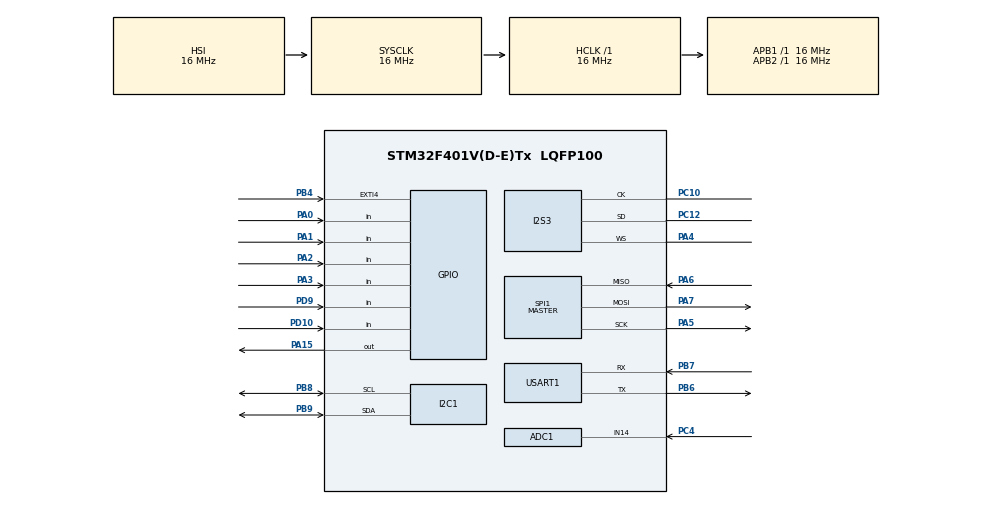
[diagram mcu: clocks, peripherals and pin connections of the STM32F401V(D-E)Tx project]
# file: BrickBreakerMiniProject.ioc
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ADC1.Channel-0\#ChannelRegularConversion=ADC_CHANNEL_14
ADC1.NbrOfConversionFlag=1
ADC1.Rank-0\#ChannelRegularConversion=1
ADC1.SamplingTime-0\#ChannelRegularConversion=ADC_SAMPLETIME_3CYCLES
ADC1.master=1
Dma.Request0=SPI3_TX
Dma.SPI3_TX.0.Direction=DMA_MEMORY_TO_PERIPH
Dma.SPI3_TX.0.FIFOMode=DMA_FIFOMODE_DISABLE
Dma.SPI3_TX.0.Instance=DMA1_Stream5
Dma.SPI3_TX.0.MemDataAlignment=DMA_MDATAALIGN_HALFWORD
Dma.SPI3_TX.0.MemInc=DMA_MINC_ENABLE
Dma.SPI3_TX.0.Mode=DMA_NORMAL
Dma.SPI3_TX.0.PeriphDataAlignment=DMA_PDATAALIGN_HALFWORD
Dma.SPI3_TX.0.PeriphInc=DMA_PINC_DISABLE
Dma.SPI3_TX.0.Priority=DMA_PRIORITY_LOW
I2S3.ErrorAudioFreq=0.0 %
I2S3.FullDuplexMode=I2S_FULLDUPLEXMODE_DISABLE
I2S3.Instance=SPI$Index
I2S3.RealAudioFreq=8.0 KHz
I2S3.VirtualMode=I2S_MODE_MASTER
Mcu.Family=STM32F4
Mcu.Name=STM32F401V(D-E)Tx
Mcu.Package=LQFP100
NVIC.DMA1_Stream5_IRQn=true\:0\:0\:false\:false\:true\:false\:true
NVIC.EXTI4_IRQn=true\:0\:0\:false\:false\:true\:true\:true
NVIC.PriorityGroup=NVIC_PRIORITYGROUP_4
PA0-WKUP.Signal=GPIO_Input
PA1.Signal=GPIO_Input
PA15.Signal=GPIO_Output
PA2.Signal=GPIO_Input
PA3.Signal=GPIO_Input
PA4.Mode=Half_Duplex_Master
PA4.Signal=I2S3_WS
PA5.Mode=Full_Duplex_Master
PA5.Signal=SPI1_SCK
PA6.Mode=Full_Duplex_Master
PA6.Signal=SPI1_MISO
PA7.Mode=Full_Duplex_Master
PA7.Signal=SPI1_MOSI
PB4.Signal=GPXTI4
PB6.Mode=Asynchronous
PB6.Signal=USART1_TX
PB7.Mode=Asynchronous
PB7.Signal=USART1_RX
PB8.Mode=I2C
PB8.Signal=I2C1_SCL
PB9.Mode=I2C
PB9.Signal=I2C1_SDA
PC10.Mode=Half_Duplex_Master
PC10.Signal=I2S3_CK
PC12.Mode=Half_Duplex_Master
PC12.Signal=I2S3_SD
PC4.Signal=ADCx_IN14
PD10.Signal=GPIO_Input
PD9.Signal=GPIO_Input
ProjectManager.HeapSize=0x200
ProjectManager.StackSize=0x400
ProjectManager.TargetToolchain=STM32CubeIDE
RCC.AHBFreq_Value=16000000
RCC.APB1Freq_Value=16000000
RCC.APB2Freq_Value=16000000
RCC.CortexFreq_Value=16000000
RCC.HSE_VALUE=25000000
RCC.HSI_VALUE=16000000
RCC.LSE_VALUE=32768
RCC.SYSCLKFreq_VALUE=16000000
RCC.VCOOutputFreq_Value=192000000
SH.ADCx_IN14.0=ADC1_IN14,IN14
SPI1.Direction=SPI_DIRECTION_2LINES
SPI1.Mode=SPI_MODE_MASTER
SPI1.VirtualType=VM_MASTER
USART1.VirtualMode=VM_ASYNC
VP_FATFS_VS_Generic.Mode=User_defined
board=custom

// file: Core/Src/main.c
/* USER CODE BEGIN Header */
/**
  ******************************************************************************
  * @file           : main.c
  * @brief          : Main program body
  ******************************************************************************
  * @attention
  *
  * <h2><center>&copy; Copyright (c) 2021 STMicroelectronics.
  * All rights reserved.</center></h2>
  *
  * This software component is licensed by ST under BSD 3-Clause license,
  * the "License"; You may not use this file except in compliance with the
  * License. You may obtain a copy of the License at:
  *                        opensource.org/licenses/BSD-3-Clause
  *
  ******************************************************************************
  */
/* USER CODE END Header */

#include "main.h"
#include "fatfs.h"

/* USER CODE BEGIN Includes */

#include "sd.h"

#include "images.h"
#include "sounds.h"
#include "sprite.h"

/* USER CODE END Includes */

/* USER CODE BEGIN PTD */

typedef enum InputMode {
	JOYSTICK_INPUT,
	MOUSE_INPUT,
	TOUCH_INPUT
} input_mode_t;

/* USER CODE END PTD */

/* USER CODE BEGIN PD */

#define PADDLE_INIT_LEFT	144
#define PADDLE_INIT_TOP 	190

#define BALL_INIT_LEFT		157
#define BALL_INIT_TOP 		186

#define BRICK_COLUMN_SIZE 	13
#define BRICK_ROW_SIZE 		5

#define TOP_OFFSET 			40

#define MAX_NUM_LIVES		3
/* USER CODE END PD */

ADC_HandleTypeDef hadc1;

I2C_HandleTypeDef hi2c1;

I2S_HandleTypeDef hi2s3;
DMA_HandleTypeDef hdma_spi3_tx;

SPI_HandleTypeDef hspi1;

UART_HandleTypeDef huart1;

/* USER CODE BEGIN PV */

FATFS fs;
FIL file;
UINT bytes_transacted;
uint8_t in_text_buffer[5];
uint8_t out_text_buffer[5] = "XXXXX";

uint8_t i2c_data[10];
int16_t mouse_vx = 0;

extern volatile int screen_refreshed;

int gameplay_enabled = 0;
input_mode_t input_mode = JOYSTICK_INPUT;

unsigned int player_score = 0;
unsigned int player_high_score = 0;
unsigned int num_powerups = 1;

screen_t screen = {
		(unsigned char*)0x20020000,	// screen start address
		320,					// screen width
		200 					// screen height
};

int paddle_direction = 0; // left: -1, right: 1, stationary: 0

sprite_t paddle_sprite;
sprite_t ball_sprite;
sprite_t brick_sprites[BRICK_COLUMN_SIZE * BRICK_ROW_SIZE];
sprite_t heart_sprites[MAX_NUM_LIVES];
sprite_t ext_powerup_sprite;

int ball_angle = 30;

/* USER CODE END PV */

void SystemClock_Config(void);
static void MX_GPIO_Init(void);
static void MX_DMA_Init(void);
static void MX_ADC1_Init(void);
static void MX_I2C1_Init(void);
static void MX_SPI1_Init(void);
static void MX_USART1_UART_Init(void);
static void MX_I2S3_Init(void);
/* USER CODE BEGIN PFP */

void init_title_layout();

void draw_title_layout();

void init_play_layout();

void draw_play_layout();

void reset_play_layout();

void init_end_layout();

void draw_end_layout();

void check_gameplay_enabled_change();

void check_input_mode_change();

void handle_paddle_mechanics();

void check_gameplay_enabled_change();

void handle_ball_mechanics();

void update_score();

int game_won();

int game_lost();

void load_high_scores();

void save_high_scores();

void display_high_scores();

void draw_current_high_score();

void handle_powerup_mechanics();

void play_sound(const uint16_t* sound, uint16_t length);

void create_highscore_file();
/* USER CODE END PFP */

int main(void)
{

  /* MCU Configuration--------------------------------------------------------*/

  /* Reset of all peripherals, Initializes the Flash interface and the Systick. */
  HAL_Init();

  /* Configure the system clock */
  SystemClock_Config();

  /* Initialize all configured peripherals */
  MX_GPIO_Init();
  MX_DMA_Init();
  MX_ADC1_Init();
  MX_I2C1_Init();
  MX_SPI1_Init();
  MX_USART1_UART_Init();
  MX_I2S3_Init();
  MX_FATFS_Init();
  /* USER CODE BEGIN 2 */

  // Configure I2C device

  i2c_data[0] = 0x20;
  i2c_data[1] = 0x47;
  HAL_I2C_Master_Transmit(&hi2c1, 0x32, i2c_data, 2, 10);
  i2c_data[0] = 0x23;
  i2c_data[1] = 0x00;
  HAL_I2C_Master_Transmit(&hi2c1, 0x32, i2c_data, 2, 10);

  f_mount(&fs, "", 1);

  create_highscore_file();

  // Initialize layouts
  init_title_layout();
  init_play_layout();

  /* USER CODE END 2 */

  /* Infinite loop */
  while (1)
  {

    /* USER CODE BEGIN 3 */
	  i2c_data[0] = 0x28 | 0x80;

	  HAL_I2C_Master_Transmit(&hi2c1, 0x32, i2c_data, 1, 10);
	  HAL_I2C_Master_Receive(&hi2c1, 0x32, i2c_data, 6, 10);

	  uint16_t tmp = i2c_data[0] + (i2c_data[1] << 8);
	  mouse_vx = *((int16_t*)&tmp);

	  //tmp = i2c_data[2] + (i2c_data[3] << 8);
	  //int16_t vy = *((int16_t*)&tmp); // Get the y-velocity (not used).

	  if (screen_refreshed) {
		  check_input_mode_change();

		  check_gameplay_enabled_change();

		  if (gameplay_enabled) {
			  handle_paddle_mechanics();
			  handle_ball_mechanics();
			  handle_powerup_mechanics();
		  }

		  update_score();
		  display_high_scores();

		  // Check if the round is lost.
		  if (ball_sprite.top + ball_sprite.height >= paddle_sprite.top + paddle_sprite.height) {
			  // remove a life and a heart... deep
			  paddle_sprite.hp--;
			  clear_sprite(heart_sprites + paddle_sprite.hp, &screen);

			  reset_play_layout();
		  }

		  if (game_lost() || game_won()) {
			  save_high_scores();
			  init_end_layout();
		  } else {
			  draw_play_layout();
		  }

		  screen_refreshed = 0;
	  }
  }
  /* USER CODE END 3 */
}

void SystemClock_Config(void)
{
  RCC_OscInitTypeDef RCC_OscInitStruct = {0};
  RCC_ClkInitTypeDef RCC_ClkInitStruct = {0};
  RCC_PeriphCLKInitTypeDef PeriphClkInitStruct = {0};

  /** Macro to configure the PLL multiplication factor
  */
  __HAL_RCC_PLL_PLLM_CONFIG(16);
  /** Macro to configure the PLL clock source
  */
  __HAL_RCC_PLL_PLLSOURCE_CONFIG(RCC_PLLSOURCE_HSI);
  /** Configure the main internal regulator output voltage
  */
  __HAL_RCC_PWR_CLK_ENABLE();
  __HAL_PWR_VOLTAGESCALING_CONFIG(PWR_REGULATOR_VOLTAGE_SCALE2);
  /** Initializes the CPU, AHB and APB busses clocks
  */
  RCC_OscInitStruct.OscillatorType = RCC_OSCILLATORTYPE_HSI;
  RCC_OscInitStruct.HSIState = RCC_HSI_ON;
  RCC_OscInitStruct.HSICalibrationValue = RCC_HSICALIBRATION_DEFAULT;
  RCC_OscInitStruct.PLL.PLLState = RCC_PLL_NONE;
  RCC_OscInitStruct.PLL.PLLSource = RCC_PLLSOURCE_HSI;
  if (HAL_RCC_OscConfig(&RCC_OscInitStruct) != HAL_OK)
  {
    Error_Handler();
  }
  /** Initializes the CPU, AHB and APB busses clocks
  */
  RCC_ClkInitStruct.ClockType = RCC_CLOCKTYPE_HCLK|RCC_CLOCKTYPE_SYSCLK
                              |RCC_CLOCKTYPE_PCLK1|RCC_CLOCKTYPE_PCLK2;
  RCC_ClkInitStruct.SYSCLKSource = RCC_SYSCLKSOURCE_HSI;
  RCC_ClkInitStruct.AHBCLKDivider = RCC_SYSCLK_DIV1;
  RCC_ClkInitStruct.APB1CLKDivider = RCC_HCLK_DIV1;
  RCC_ClkInitStruct.APB2CLKDivider = RCC_HCLK_DIV1;

  if (HAL_RCC_ClockConfig(&RCC_ClkInitStruct, FLASH_LATENCY_0) != HAL_OK)
  {
    Error_Handler();
  }
  PeriphClkInitStruct.PeriphClockSelection = RCC_PERIPHCLK_I2S;
  PeriphClkInitStruct.PLLI2S.PLLI2SN = 192;
  PeriphClkInitStruct.PLLI2S.PLLI2SR = 2;
  if (HAL_RCCEx_PeriphCLKConfig(&PeriphClkInitStruct) != HAL_OK)
  {
    Error_Handler();
  }
}

static void MX_ADC1_Init(void)
{

  ADC_ChannelConfTypeDef sConfig = {0};

  /** Configure the global features of the ADC (Clock, Resolution, Data Alignment and number of conversion)
  */
  hadc1.Instance = ADC1;
  hadc1.Init.ClockPrescaler = ADC_CLOCK_SYNC_PCLK_DIV2;
  hadc1.Init.Resolution = ADC_RESOLUTION_12B;
  hadc1.Init.ScanConvMode = DISABLE;
  hadc1.Init.ContinuousConvMode = DISABLE;
  hadc1.Init.DiscontinuousConvMode = DISABLE;
  hadc1.Init.ExternalTrigConvEdge = ADC_EXTERNALTRIGCONVEDGE_NONE;
  hadc1.Init.ExternalTrigConv = ADC_SOFTWARE_START;
  hadc1.Init.DataAlign = ADC_DATAALIGN_RIGHT;
  hadc1.Init.NbrOfConversion = 1;
  hadc1.Init.DMAContinuousRequests = DISABLE;
  hadc1.Init.EOCSelection = ADC_EOC_SINGLE_CONV;
  if (HAL_ADC_Init(&hadc1) != HAL_OK)
  {
    Error_Handler();
  }
  /** Configure for the selected ADC regular channel its corresponding rank in the sequencer and its sample time.
  */
  sConfig.Channel = ADC_CHANNEL_14;
  sConfig.Rank = 1;
  sConfig.SamplingTime = ADC_SAMPLETIME_3CYCLES;
  if (HAL_ADC_ConfigChannel(&hadc1, &sConfig) != HAL_OK)
  {
    Error_Handler();
  }

}

static void MX_I2C1_Init(void)
{

  hi2c1.Instance = I2C1;
  hi2c1.Init.ClockSpeed = 100000;
  hi2c1.Init.DutyCycle = I2C_DUTYCYCLE_2;
  hi2c1.Init.OwnAddress1 = 0;
  hi2c1.Init.AddressingMode = I2C_ADDRESSINGMODE_7BIT;
  hi2c1.Init.DualAddressMode = I2C_DUALADDRESS_DISABLE;
  hi2c1.Init.OwnAddress2 = 0;
  hi2c1.Init.GeneralCallMode = I2C_GENERALCALL_DISABLE;
  hi2c1.Init.NoStretchMode = I2C_NOSTRETCH_DISABLE;
  if (HAL_I2C_Init(&hi2c1) != HAL_OK)
  {
    Error_Handler();
  }

}

static void MX_I2S3_Init(void)
{

  hi2s3.Instance = SPI3;
  hi2s3.Init.Mode = I2S_MODE_MASTER_TX;
  hi2s3.Init.Standard = I2S_STANDARD_PHILIPS;
  hi2s3.Init.DataFormat = I2S_DATAFORMAT_16B;
  hi2s3.Init.MCLKOutput = I2S_MCLKOUTPUT_DISABLE;
  hi2s3.Init.AudioFreq = I2S_AUDIOFREQ_8K;
  hi2s3.Init.CPOL = I2S_CPOL_LOW;
  hi2s3.Init.ClockSource = I2S_CLOCK_PLL;
  hi2s3.Init.FullDuplexMode = I2S_FULLDUPLEXMODE_DISABLE;
  if (HAL_I2S_Init(&hi2s3) != HAL_OK)
  {
    Error_Handler();
  }

}

static void MX_SPI1_Init(void)
{

  /* SPI1 parameter configuration*/
  hspi1.Instance = SPI1;
  hspi1.Init.Mode = SPI_MODE_MASTER;
  hspi1.Init.Direction = SPI_DIRECTION_2LINES;
  hspi1.Init.DataSize = SPI_DATASIZE_8BIT;
  hspi1.Init.CLKPolarity = SPI_POLARITY_LOW;
  hspi1.Init.CLKPhase = SPI_PHASE_1EDGE;
  hspi1.Init.NSS = SPI_NSS_SOFT;
  hspi1.Init.BaudRatePrescaler = SPI_BAUDRATEPRESCALER_2;
  hspi1.Init.FirstBit = SPI_FIRSTBIT_MSB;
  hspi1.Init.TIMode = SPI_TIMODE_DISABLE;
  hspi1.Init.CRCCalculation = SPI_CRCCALCULATION_DISABLE;
  hspi1.Init.CRCPolynomial = 10;
  if (HAL_SPI_Init(&hspi1) != HAL_OK)
  {
    Error_Handler();
  }

}

static void MX_USART1_UART_Init(void)
{

  huart1.Instance = USART1;
  huart1.Init.BaudRate = 115200;
  huart1.Init.WordLength = UART_WORDLENGTH_8B;
  huart1.Init.StopBits = UART_STOPBITS_1;
  huart1.Init.Parity = UART_PARITY_NONE;
  huart1.Init.Mode = UART_MODE_TX_RX;
  huart1.Init.HwFlowCtl = UART_HWCONTROL_NONE;
  huart1.Init.OverSampling = UART_OVERSAMPLING_16;
  if (HAL_UART_Init(&huart1) != HAL_OK)
  {
    Error_Handler();
  }

}

static void MX_DMA_Init(void)
{

  /* DMA controller clock enable */
  __HAL_RCC_DMA1_CLK_ENABLE();

  /* DMA interrupt init */
  /* DMA1_Stream5_IRQn interrupt configuration */
  HAL_NVIC_SetPriority(DMA1_Stream5_IRQn, 0, 0);
  HAL_NVIC_EnableIRQ(DMA1_Stream5_IRQn);

}

static void MX_GPIO_Init(void)
{
  GPIO_InitTypeDef GPIO_InitStruct = {0};

  /* GPIO Ports Clock Enable */
  __HAL_RCC_GPIOA_CLK_ENABLE();
  __HAL_RCC_GPIOC_CLK_ENABLE();
  __HAL_RCC_GPIOD_CLK_ENABLE();
  __HAL_RCC_GPIOB_CLK_ENABLE();

  /*Configure GPIO pin Output Level */
  HAL_GPIO_WritePin(GPIOA, GPIO_PIN_15, GPIO_PIN_RESET);

  /*Configure GPIO pins : PA0 PA1 PA2 PA3 */
  GPIO_InitStruct.Pin = GPIO_PIN_0|GPIO_PIN_1|GPIO_PIN_2|GPIO_PIN_3;
  GPIO_InitStruct.Mode = GPIO_MODE_INPUT;
  GPIO_InitStruct.Pull = GPIO_NOPULL;
  HAL_GPIO_Init(GPIOA, &GPIO_InitStruct);

  /*Configure GPIO pins : PD9 PD10 */
  GPIO_InitStruct.Pin = GPIO_PIN_9|GPIO_PIN_10;
  GPIO_InitStruct.Mode = GPIO_MODE_INPUT;
  GPIO_InitStruct.Pull = GPIO_NOPULL;
  HAL_GPIO_Init(GPIOD, &GPIO_InitStruct);

  /*Configure GPIO pin : PA15 */
  GPIO_InitStruct.Pin = GPIO_PIN_15;
  GPIO_InitStruct.Mode = GPIO_MODE_OUTPUT_PP;
  GPIO_InitStruct.Pull = GPIO_NOPULL;
  GPIO_InitStruct.Speed = GPIO_SPEED_FREQ_LOW;
  HAL_GPIO_Init(GPIOA, &GPIO_InitStruct);

  /*Configure GPIO pin : PB4 */
  GPIO_InitStruct.Pin = GPIO_PIN_4;
  GPIO_InitStruct.Mode = GPIO_MODE_IT_RISING;
  GPIO_InitStruct.Pull = GPIO_NOPULL;
  HAL_GPIO_Init(GPIOB, &GPIO_InitStruct);

  /* EXTI interrupt init*/
  HAL_NVIC_SetPriority(EXTI4_IRQn, 0, 0);
  HAL_NVIC_EnableIRQ(EXTI4_IRQn);

}

/* USER CODE BEGIN 4 */

void create_highscore_file() {
	// Write data to file.
	f_open(&file, "score.txt", FA_WRITE | FA_CREATE_ALWAYS);

	out_text_buffer[0] = 48;
	out_text_buffer[1] = 48;
	out_text_buffer[2] = 48;
	out_text_buffer[3] = 48;
	out_text_buffer[4] = 48;

	f_write(&file, out_text_buffer, 5, &bytes_transacted);

	// Close file.
	f_close(&file);
}

void load_high_scores() {
	player_high_score = 0;

	// Read data from file.
	FRESULT temp = f_open(&file, "score.txt", FA_READ);
	f_read(&file, in_text_buffer, 5, &bytes_transacted);
	if (bytes_transacted != 0) {
		player_high_score += 10000 * (in_text_buffer[0] - 48);
		player_high_score += 1000 * (in_text_buffer[1] - 48);
		player_high_score += 100 * (in_text_buffer[2] - 48);
		player_high_score += 10 * (in_text_buffer[3] - 48);
		player_high_score += (in_text_buffer[4] - 48);
	}

	f_close(&file);
}

void save_high_scores() {
	if (player_high_score < player_score)
		player_high_score = player_score;

	 // Write data to file.
	  f_open(&file, "score.txt", FA_WRITE);

	  out_text_buffer[0] = (player_high_score / 10000) % 10 + 48;
	  out_text_buffer[1] = (player_high_score / 1000) % 10 + 48;
	  out_text_buffer[2] = (player_high_score / 100) % 10 + 48;
	  out_text_buffer[3] = (player_high_score / 10) % 10 + 48;
	  out_text_buffer[4] = player_high_score % 10 + 48;

	  f_write(&file, out_text_buffer, 5, &bytes_transacted);

	  // Close file.
	  f_close(&file);
}

void display_high_scores() {
	draw_current_high_score();
}

void display_number(unsigned int number, int left, int top) {
	uint32_t* start_address = (uint32_t*)(screen.start + screen.width * top + left);
	uint8_t digit = 0;
	uint32_t* digitptr;
	uint32_t* scrcopyptr;

	for (int i = 0; i < 5; i++) {
		digit = number % 10;
		number /= 10;

		scrcopyptr = start_address;
		digitptr = (uint32_t*)(digits + (digit << 3));
		for (int i = 0; i < 9; i++)
		{
			for (int j = 0; j < 2; j++)
			{
				*scrcopyptr++ = *digitptr++;
			}
			digitptr += 18;
			scrcopyptr += 78;

		}
		start_address -= 2;
	}
}

void init_title_layout() {
	int num_flashes = 10;
	draw_image(&screen, title_label_image, 72, 10, TITLE_LABEL_WIDTH, TITLE_LABEL_HEIGHT);
	draw_image(&screen, instr_label_image, 108, 100, INSTR_LABEL_WIDTH, INSTR_LABEL_HEIGHT);

	while (0 < num_flashes) { // Doesn't want to work :(
		clear_box(&screen, LOADING_LABEL_WIDTH, LOADING_LABEL_HEIGHT, 106, 180);
		draw_image(&screen, loading_label_image, 106, 180, LOADING_LABEL_WIDTH, LOADING_LABEL_HEIGHT);
		HAL_Delay(20);
		num_flashes--;
	}

	clear_screen(&screen);
}

void init_play_layout() {
	load_high_scores();
	player_score = 0;

	// Setup paddle
	init_sprite(&paddle_sprite, paddle_image, PADDLE_WIDTH, PADDLE_HEIGHT, 144, 190, MAX_NUM_LIVES);

	// Setup ball
	ball_angle = 30;
	init_sprite(&ball_sprite, ball_image, BALL_WIDTH, BALL_HEIGHT, 157, 186, 1);

	uint8_t* brick_images[] = {
			grey_brick_image,
			red_brick_image,
			orange_brick_image,
			yelllow_brick_image,
			green_brick_image
	};

	const unsigned int BRICK_H_PADDING = 2;
	const unsigned int BRICK_V_PADDING = 4;
	const unsigned int BRICK_LEFT_OFFSET = 5;

	for (int i = 0; i < BRICK_ROW_SIZE; i++) {
		for (int j = 0; j < BRICK_COLUMN_SIZE; j++) {
			int brick_index = i * BRICK_COLUMN_SIZE + j;
			int left_position = BRICK_LEFT_OFFSET + j * (BRICK_H_PADDING + BRICK_H_PADDING * (j < BRICK_COLUMN_SIZE) + BRICK_WIDTH);
			int top_position = TOP_OFFSET + i * (BRICK_V_PADDING + BRICK_HEIGHT);
			int num_lives = (i == 0) ? 2 : 1; // First row should have 2 lives and all other rows should have 1 life.

			init_sprite(brick_sprites + brick_index, brick_images[i], BRICK_WIDTH, BRICK_HEIGHT, left_position, top_position, num_lives);
		}
	}

	// Setup heart sprites
	for (int i = 0; i < 3; i++) {
		init_sprite(heart_sprites + i, heart_image, HEART_WIDTH, HEART_HEIGHT, 5 + i * (HEART_WIDTH + 10), 5, 1);
		draw_sprite(heart_sprites + i, &screen);
	}

	// Print labels
	draw_image(&screen, score_label_image, 220, 14, SCORE_LABEL_WIDTH, SCORE_LABEL_HEIGHT);
	draw_image(&screen, high_score_label_image, 100, 14, HIGH_SCORE_LABEL_WIDTH, HIGH_SCORE_LABEL_HEIGHT);

	// Draw highscore
	draw_current_high_score();

	// Setup powerup
	init_sprite(&ext_powerup_sprite, ext_powerup_image, EXT_POWERUP_WIDTH, EXT_POWERUP_HEIGHT, 144, 190, 0);

}

void draw_current_high_score() {
	display_number(player_high_score, 200, 13);
}

void reset_play_layout() {
	// Disable gameplay
	gameplay_enabled = 0;

	// Reset Paddle
	clear_sprite(&paddle_sprite, &screen);
	paddle_sprite.left = PADDLE_INIT_LEFT;
	paddle_sprite.top = PADDLE_INIT_TOP;

	// Reset Ball
	clear_sprite(&ball_sprite, &screen);
	ball_sprite.left = BALL_INIT_LEFT;
	ball_sprite.top = BALL_INIT_TOP;
	ball_angle = 30;
}

void draw_play_layout() {
	// Draw ball
	draw_sprite(&ball_sprite, &screen);

	// Draw alive bricks
	for (int i = 0; i < BRICK_COLUMN_SIZE * BRICK_ROW_SIZE; i++) {
		if (sprite_is_alive(brick_sprites + i))
			draw_sprite(brick_sprites + i, &screen);
	}

	// Draw paddle
	draw_sprite(&paddle_sprite, &screen);

	if (ext_powerup_sprite.hp != 0)
		draw_sprite(&ext_powerup_sprite, &screen);
}

void init_end_layout() {
	clear_screen(&screen);

	int num_flashes = 10;

	// Play sound
	play_sound(game_lost_sound, GAME_LOST_SOUND_LEN);

	if (game_lost())
		draw_image(&screen, (unsigned char*) lost_label_image, 38, 60, LOST_LABEL_WIDTH, LOST_LABEL_HEIGHT);
	else
		draw_image(&screen, (unsigned char*) won_label_image, 38, 60, WON_LABEL_WIDTH, WON_LABEL_HEIGHT);

	while (0 < num_flashes) { // Doesn't want to work :(
		clear_box(&screen, LOADING_LABEL_WIDTH, LOADING_LABEL_HEIGHT, 106, 180);
		draw_image(&screen, loading_label_image, 106, 180, LOADING_LABEL_WIDTH, LOADING_LABEL_HEIGHT);
		HAL_Delay(20);
		num_flashes--;
	}

	clear_screen(&screen);
	init_play_layout();
}

void check_gameplay_enabled_change() {
	if (HAL_GPIO_ReadPin(GPIOA, GPIO_PIN_0)) {
		gameplay_enabled = 1;

		// Play sound
		play_sound(ball_launch_sound, BALL_LAUNCH_SOUND_LEN);
	}
}

void check_input_mode_change() {
	if (HAL_GPIO_ReadPin(GPIOA, GPIO_PIN_1)) input_mode = JOYSTICK_INPUT;
	if (HAL_GPIO_ReadPin(GPIOA, GPIO_PIN_2)) input_mode = MOUSE_INPUT;
	if (HAL_GPIO_ReadPin(GPIOA, GPIO_PIN_3)) input_mode = TOUCH_INPUT;
}

void handle_paddle_mechanics() {
	// Get user inputs
	switch (input_mode) {
	case JOYSTICK_INPUT:
		paddle_direction = HAL_GPIO_ReadPin(GPIOD, GPIO_PIN_9) - HAL_GPIO_ReadPin(GPIOD, GPIO_PIN_10);
		break;
	case MOUSE_INPUT:
		paddle_direction = (0 < mouse_vx) - (mouse_vx < 0);
		break;
	case TOUCH_INPUT:
		HAL_ADC_Start(&hadc1);
		HAL_ADC_PollForConversion(&hadc1, 10);
		uint16_t analog_value = HAL_ADC_GetValue(&hadc1);
		const uint16_t MIDDLE_POS = 2042;
		paddle_direction = (MIDDLE_POS < analog_value) - (analog_value < MIDDLE_POS);
		break;
	}

	const int PADDLE_STEP = 8;

	int new_left = paddle_sprite.left + paddle_direction * PADDLE_STEP;

	paddle_direction *= (paddle_direction < 0 && 0 <= new_left) || (0 < paddle_direction && new_left + paddle_sprite.width <= screen.width);

	if (paddle_direction != 0) { // i.e. the paddle moved
		// Clear paddle
		clear_sprite(&paddle_sprite, &screen);

		// Move paddle
		increment_sprite_position(&paddle_sprite, paddle_direction * PADDLE_STEP, 0);
	}
}

void handle_ball_mechanics() {

	// 1. Save the ball's current position
	int old_left = ball_sprite.left;
	int old_top = ball_sprite.top;

	// Clear old ball from screen
	clear_sprite(&ball_sprite, &screen);

	// 2. Update the ball's position
	const unsigned int BALL_STEP = 10;
	step_sprite_in_direction(&ball_sprite, BALL_STEP, ball_angle);

	// 3. Handle ball's collisions
	check_deflect_off_bounary(&ball_sprite, &ball_angle, 0, screen.width, TOP_OFFSET, screen.height);

	if (check_deflect_off_sprite(&ball_sprite, &paddle_sprite, &ball_angle, old_left, old_top)) {
		// Adjust balls angle
		// NOTE: On exit the ball's angle should be between 0 and 180
		if (paddle_direction < 0) // Paddle going left
			ball_angle = (ball_angle < 90) ? ball_angle / 2 : 180 - (180 - ball_angle) * 2;
		if (0 < paddle_direction) // Paddle going right
			ball_angle = (ball_angle < 90) ? ball_angle * 2 : 180 - (180 - ball_angle) / 2;
	}

	for (int i = 0; i < BRICK_COLUMN_SIZE * BRICK_ROW_SIZE; i++) {
		sprite_t* brick_sprite = brick_sprites + i;

		if (check_deflect_off_sprite(&ball_sprite, brick_sprite, &ball_angle, old_left, old_top)) {
			// Decrease brick lives
			brick_sprite->hp--;

			if (!sprite_is_alive(brick_sprite)) {
				// Clear the brick
				clear_sprite(brick_sprite, &screen);

				// Play sound
				play_sound(brick_break_sound, BRICK_BREAK_SOUND_LEN);

				// Update player score if the brick broke
				switch (i / BRICK_COLUMN_SIZE) {
				case 0: // Grey row
					player_score += 10;
					break;
				case 1: // Red row
					player_score += 7;
					break;
				case 2: // Orange row
					player_score += 5;
					break;
				case 3: // Yellow row
					player_score += 3;
					break;
				case 4: // Green row
					player_score += 1;
					break;
				}

				// Activate powerup
				if (num_powerups > 0) {
					ext_powerup_sprite.hp = 1;
					set_sprite_position(&ext_powerup_sprite, brick_sprite->left, brick_sprite->top);

					num_powerups--;
				}
			}
		}
	}

	// 4. Pray that no glitches occur
}

void handle_powerup_mechanics() {
	// Extender powerup
	if (ext_powerup_sprite.hp != 0) {
		clear_sprite(&ext_powerup_sprite, &screen);
		if (ext_powerup_sprite.top + ext_powerup_sprite.height <= screen.height)
			increment_sprite_position(&ext_powerup_sprite, 0, 2);
		else
			ext_powerup_sprite.hp = 0;

		// check that powerup was captured by paddle
		int inbetween_paddle = paddle_sprite.left < ext_powerup_sprite.left + ext_powerup_sprite.width && ext_powerup_sprite.left < paddle_sprite.left + paddle_sprite.width;
		if (inbetween_paddle && paddle_sprite.top <= ext_powerup_sprite.top + ext_powerup_sprite.height) {

			paddle_sprite.image = ext_paddle_image;
			paddle_sprite.width = EXT_PADDLE_WIDTH;
			paddle_sprite.height = EXT_PADDLE_HEIGHT;
			increment_sprite_position(&paddle_sprite, -10, 0);

			ext_powerup_sprite.hp = 0;
		}
	}
}

void update_score() {
	display_number(player_score, 300, 13);
}

int game_won() {
	for (int i = 0; i < BRICK_COLUMN_SIZE * BRICK_ROW_SIZE; i++) {
		if (brick_sprites[i].hp != 0)
			return 0;
	}
	return 1;
}

int game_lost() {
	return paddle_sprite.hp <= 0;
}

void play_sound(const uint16_t* sound, uint16_t length) {
	HAL_I2S_Transmit_DMA(&hi2s3, (uint16_t*) sound, length);
}

/* USER CODE END 4 */

void Error_Handler(void)
{
}

/************************ (C) COPYRIGHT STMicroelectronics *****END OF FILE****/
